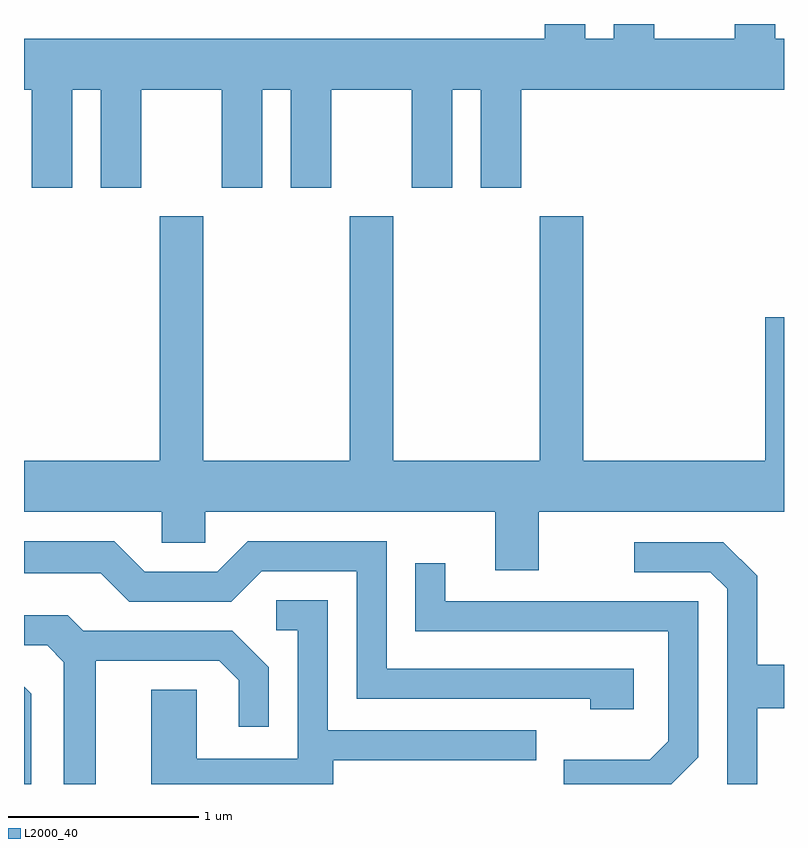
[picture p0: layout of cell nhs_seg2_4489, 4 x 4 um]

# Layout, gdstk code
import gdstk
lib = gdstk.Library(unit=1e-6, precision=1e-09)
def P(c, l, *ps):  # polygons
    for p in ps: c.add(gdstk.Polygon(p, *l))
L2000_40 = (2000, 40)

nhs_seg2_4489 = lib.new_cell('nhs_seg2_4489')
P(nhs_seg2_4489, L2000_40, [(317.864,1019.456),(318.016,1019.456),(318.016,1018.941),(318.229,1018.941),(318.229,1019.456),(318.651,1019.456),(318.651,1018.941),(318.864,1018.941),(318.864,1019.456),(319.016,1019.456),(319.016,1018.941),(319.229,1018.941),(319.229,1019.456),(319.651,1019.456),(319.651,1018.941),(319.864,1018.941),(319.864,1019.456),(320.016,1019.456),(320.016,1018.941),(320.229,1018.941),(320.229,1019.456),(321.611,1019.456),(321.611,1019.724),(321.564,1019.724),(321.564,1019.802),(321.351,1019.802),(321.351,1019.724),(320.929,1019.724),(320.929,1019.802),(320.716,1019.802),(320.716,1019.724),(320.564,1019.724),(320.564,1019.802),(320.351,1019.802),(320.351,1019.724),(317.611,1019.724),(317.611,1019.456),(317.651,1019.456),(317.651,1018.941),(317.864,1018.941)],
  [(320.319,1017.236),(321.611,1017.236),(321.611,1018.259),(321.511,1018.259),(321.511,1017.504),(320.554,1017.504),(320.554,1018.789),(320.326,1018.789),(320.326,1017.504),(319.554,1017.504),(319.554,1018.789),(319.326,1018.789),(319.326,1017.504),(318.554,1017.504),(318.554,1018.789),(318.326,1018.789),(318.326,1017.504),(317.611,1017.504),(317.611,1017.236),(318.336,1017.236),(318.336,1017.071),(318.564,1017.071),(318.564,1017.236),(320.091,1017.236),(320.091,1016.926),(320.319,1016.926)],
  [(320.819,1016.409),(319.519,1016.409),(319.519,1017.079),(318.789,1017.079),(318.629,1016.919),(318.247,1016.919),(318.087,1017.079),(317.611,1017.079),(317.611,1016.911),(318.014,1016.911),(318.164,1016.761),(318.702,1016.761),(318.862,1016.921),(319.361,1016.921),(319.361,1016.251),(320.591,1016.251),(320.591,1016.196),(320.819,1016.196)],
  [(321.469,1016.201),(321.611,1016.201),(321.611,1016.429),(321.469,1016.429),(321.469,1016.897),(321.292,1017.074),(320.823,1017.074),(320.823,1016.916),(321.224,1016.916),(321.311,1016.829),(321.311,1015.802),(321.469,1015.802)],
  [(321.159,1015.944),(321.159,1016.764),(319.829,1016.764),(319.829,1016.963),(319.671,1016.963),(319.671,1016.606),(321.001,1016.606),(321.001,1016.027),(320.904,1015.929),(320.451,1015.929),(320.451,1015.802),(321.018,1015.802)],
  [(319.239,1015.926),(320.308,1015.926),(320.308,1016.084),(319.209,1016.084),(319.209,1016.769),(318.938,1016.769),(318.938,1016.611),(319.051,1016.611),(319.051,1015.934),(318.519,1015.934),(318.519,1016.299),(318.281,1016.299),(318.281,1015.802),(319.239,1015.802)],
  [(317.989,1016.451),(318.639,1016.451),(318.741,1016.349),(318.741,1016.103),(318.899,1016.103),(318.899,1016.417),(318.707,1016.609),(317.922,1016.609),(317.842,1016.689),(317.613,1016.689),(317.613,1016.531),(317.734,1016.531),(317.821,1016.444),(317.821,1015.802),(317.989,1015.802)],
  [(317.649,1016.277),(317.611,1016.315),(317.611,1015.802),(317.649,1015.802)])

lib.write_gds('nhs_seg2_4489.gds')
